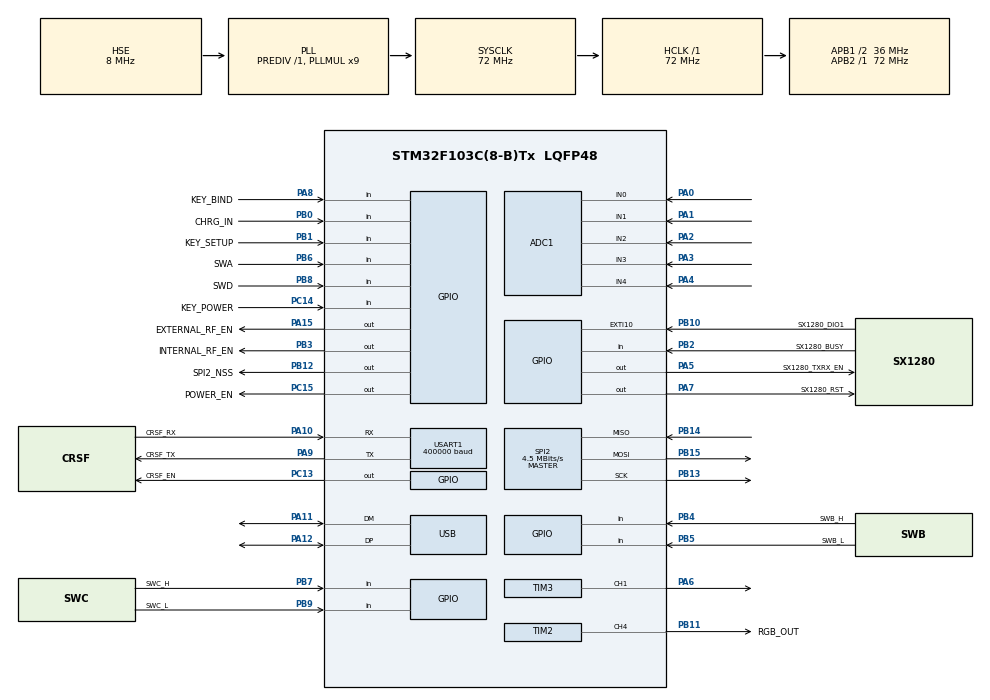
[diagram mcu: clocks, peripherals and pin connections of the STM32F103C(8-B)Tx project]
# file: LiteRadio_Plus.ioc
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ADC1.Channel-1\#ChannelRegularConversion=ADC_CHANNEL_0
ADC1.Channel-2\#ChannelRegularConversion=ADC_CHANNEL_1
ADC1.Channel-3\#ChannelRegularConversion=ADC_CHANNEL_2
ADC1.Channel-4\#ChannelRegularConversion=ADC_CHANNEL_3
ADC1.Channel-5\#ChannelRegularConversion=ADC_CHANNEL_4
ADC1.ContinuousConvMode=ENABLE
ADC1.ExternalTrigConv=ADC_SOFTWARE_START
ADC1.NbrOfConversion=5
ADC1.NbrOfConversionFlag=1
ADC1.Rank-1\#ChannelRegularConversion=1
ADC1.Rank-2\#ChannelRegularConversion=2
ADC1.Rank-3\#ChannelRegularConversion=3
ADC1.Rank-4\#ChannelRegularConversion=4
ADC1.Rank-5\#ChannelRegularConversion=5
ADC1.SamplingTime-1\#ChannelRegularConversion=ADC_SAMPLETIME_1CYCLE_5
ADC1.SamplingTime-2\#ChannelRegularConversion=ADC_SAMPLETIME_1CYCLE_5
ADC1.SamplingTime-3\#ChannelRegularConversion=ADC_SAMPLETIME_1CYCLE_5
ADC1.SamplingTime-4\#ChannelRegularConversion=ADC_SAMPLETIME_1CYCLE_5
ADC1.SamplingTime-5\#ChannelRegularConversion=ADC_SAMPLETIME_1CYCLE_5
ADC1.master=1
Dma.ADC1.0.Direction=DMA_PERIPH_TO_MEMORY
Dma.ADC1.0.Instance=DMA1_Channel1
Dma.ADC1.0.MemDataAlignment=DMA_MDATAALIGN_HALFWORD
Dma.ADC1.0.MemInc=DMA_MINC_ENABLE
Dma.ADC1.0.Mode=DMA_CIRCULAR
Dma.ADC1.0.PeriphDataAlignment=DMA_PDATAALIGN_HALFWORD
Dma.ADC1.0.PeriphInc=DMA_PINC_DISABLE
Dma.ADC1.0.Priority=DMA_PRIORITY_MEDIUM
Dma.Request0=ADC1
Dma.Request1=TIM2_CH2/CH4
Dma.Request2=USART1_TX
Dma.Request3=USART1_RX
Dma.TIM2_CH2/CH4.1.Direction=DMA_MEMORY_TO_PERIPH
Dma.TIM2_CH2/CH4.1.Instance=DMA1_Channel7
Dma.TIM2_CH2/CH4.1.MemDataAlignment=DMA_MDATAALIGN_HALFWORD
Dma.TIM2_CH2/CH4.1.MemInc=DMA_MINC_ENABLE
Dma.TIM2_CH2/CH4.1.Mode=DMA_NORMAL
Dma.TIM2_CH2/CH4.1.PeriphDataAlignment=DMA_PDATAALIGN_HALFWORD
Dma.TIM2_CH2/CH4.1.PeriphInc=DMA_PINC_DISABLE
Dma.TIM2_CH2/CH4.1.Priority=DMA_PRIORITY_MEDIUM
Dma.USART1_RX.3.Direction=DMA_PERIPH_TO_MEMORY
Dma.USART1_RX.3.Instance=DMA1_Channel5
Dma.USART1_RX.3.MemDataAlignment=DMA_MDATAALIGN_BYTE
Dma.USART1_RX.3.MemInc=DMA_MINC_ENABLE
Dma.USART1_RX.3.Mode=DMA_NORMAL
Dma.USART1_RX.3.PeriphDataAlignment=DMA_PDATAALIGN_BYTE
Dma.USART1_RX.3.PeriphInc=DMA_PINC_DISABLE
Dma.USART1_RX.3.Priority=DMA_PRIORITY_MEDIUM
Dma.USART1_TX.2.Direction=DMA_MEMORY_TO_PERIPH
Dma.USART1_TX.2.Instance=DMA1_Channel4
Dma.USART1_TX.2.MemDataAlignment=DMA_MDATAALIGN_BYTE
Dma.USART1_TX.2.MemInc=DMA_MINC_ENABLE
Dma.USART1_TX.2.Mode=DMA_NORMAL
Dma.USART1_TX.2.PeriphDataAlignment=DMA_PDATAALIGN_BYTE
Dma.USART1_TX.2.PeriphInc=DMA_PINC_DISABLE
Dma.USART1_TX.2.Priority=DMA_PRIORITY_MEDIUM
FREERTOS.HEAP_NUMBER=4
FREERTOS.INCLUDE_uxTaskGetStackHighWaterMark=1
FREERTOS.INCLUDE_vTaskDelayUntil=0
FREERTOS.INCLUDE_xEventGroupSetBitFromISR=0
FREERTOS.INCLUDE_xTimerPendFunctionCall=0
FREERTOS.MEMORY_ALLOCATION=2
FREERTOS.Tasks01=defaultTask,0,128,StartDefaultTask,Default,NULL,Static,defaultTaskBuffer,defaultTaskControlBlock
FREERTOS.configTOTAL_HEAP_SIZE=6.5*1024 
FREERTOS.configUSE_TIMERS=0
IWDG.Prescaler=IWDG_PRESCALER_16
Mcu.Family=STM32F1
Mcu.Name=STM32F103C(8-B)Tx
Mcu.Package=LQFP48
NVIC.DMA1_Channel1_IRQn=true\:5\:0\:false\:false\:true\:true\:false\:true\:true
NVIC.DMA1_Channel4_IRQn=true\:5\:0\:false\:false\:true\:true\:false\:true\:true
NVIC.DMA1_Channel5_IRQn=true\:5\:0\:false\:false\:true\:true\:false\:true\:true
NVIC.DMA1_Channel7_IRQn=true\:5\:0\:false\:false\:true\:true\:false\:true\:true
NVIC.EXTI15_10_IRQn=true\:5\:0\:true\:false\:true\:true\:true\:true\:true
NVIC.PriorityGroup=NVIC_PRIORITYGROUP_4
NVIC.TIM1_UP_IRQn=true\:5\:0\:false\:false\:true\:true\:true\:true\:true
NVIC.TIM2_IRQn=true\:5\:0\:false\:false\:true\:true\:true\:true\:true
NVIC.TIM4_IRQn=true\:0\:0\:false\:false\:true\:false\:false\:true\:true
NVIC.TimeBase=TIM4_IRQn
NVIC.TimeBaseIP=TIM4
NVIC.USART1_IRQn=true\:5\:0\:false\:false\:true\:true\:true\:true\:true
NVIC.USB_LP_CAN1_RX0_IRQn=true\:5\:0\:false\:false\:true\:true\:false\:true\:true
PA0-WKUP.Signal=ADCx_IN0
PA1.Signal=ADCx_IN1
PA10.GPIO_Label=CRSF_RX
PA10.Mode=Asynchronous
PA10.Signal=USART1_RX
PA11.Mode=Device
PA11.Signal=USB_DM
PA12.Mode=Device
PA12.Signal=USB_DP
PA13.Mode=Serial_Wire
PA13.Signal=SYS_JTMS-SWDIO
PA14.Mode=Serial_Wire
PA14.Signal=SYS_JTCK-SWCLK
PA15.GPIO_Label=EXTERNAL_RF_EN
PA15.Signal=GPIO_Output
PA2.Signal=ADCx_IN2
PA3.Signal=ADCx_IN3
PA4.Signal=ADCx_IN4
PA5.GPIO_Label=SX1280_TXRX_EN
PA5.Signal=GPIO_Output
PA6.Signal=S_TIM3_CH1
PA7.GPIO_Label=SX1280_RST
PA7.GPIO_PuPd=GPIO_PULLUP
PA7.PinState=GPIO_PIN_SET
PA7.Signal=GPIO_Output
PA8.GPIO_Label=KEY_BIND
PA8.GPIO_PuPd=GPIO_PULLUP
PA8.Signal=GPIO_Input
PA9.GPIO_Label=CRSF_TX
PA9.Mode=Asynchronous
PA9.Signal=USART1_TX
PB0.GPIO_Label=CHRG_IN
PB0.GPIO_PuPd=GPIO_PULLUP
PB0.Signal=GPIO_Input
PB1.GPIO_Label=KEY_SETUP
PB1.GPIO_PuPd=GPIO_PULLUP
PB1.Signal=GPIO_Input
PB10.GPIO_Label=SX1280_DIO1
PB10.GPIO_ModeDefaultEXTI=GPIO_MODE_IT_RISING
PB10.GPIO_PuPd=GPIO_PULLDOWN
PB10.Signal=GPXTI10
PB11.GPIO_Label=RGB_OUT
PB11.Signal=S_TIM2_CH4
PB12.GPIO_Label=SPI2_NSS
PB12.GPIO_Speed=GPIO_SPEED_FREQ_HIGH
PB12.Signal=GPIO_Output
PB13.Mode=Full_Duplex_Master
PB13.Signal=SPI2_SCK
PB14.Mode=Full_Duplex_Master
PB14.Signal=SPI2_MISO
PB15.Mode=Full_Duplex_Master
PB15.Signal=SPI2_MOSI
PB2.GPIO_Label=SX1280_BUSY
PB2.GPIO_PuPd=GPIO_PULLUP
PB2.Signal=GPIO_Input
PB3.GPIO_Label=INTERNAL_RF_EN
PB3.Signal=GPIO_Output
PB4.GPIO_Label=SWB_H
PB4.GPIO_PuPd=GPIO_PULLUP
PB4.Signal=GPIO_Input
PB5.GPIO_Label=SWB_L
PB5.GPIO_PuPd=GPIO_PULLUP
PB5.Signal=GPIO_Input
PB6.GPIO_Label=SWA
PB6.GPIO_PuPd=GPIO_PULLUP
PB6.Signal=GPIO_Input
PB7.GPIO_Label=SWC_H
PB7.GPIO_PuPd=GPIO_PULLUP
PB7.Signal=GPIO_Input
PB8.GPIO_Label=SWD
PB8.GPIO_PuPd=GPIO_PULLUP
PB8.Signal=GPIO_Input
PB9.GPIO_Label=SWC_L
PB9.GPIO_PuPd=GPIO_PULLUP
PB9.Signal=GPIO_Input
PC13-TAMPER-RTC.GPIO_Label=CRSF_EN
PC13-TAMPER-RTC.Signal=GPIO_Output
PC14-OSC32_IN.GPIO_Label=KEY_POWER
PC14-OSC32_IN.GPIO_PuPd=GPIO_PULLUP
PC14-OSC32_IN.Signal=GPIO_Input
PC15-OSC32_OUT.GPIO_Label=POWER_EN
PC15-OSC32_OUT.GPIO_PuPd=GPIO_PULLDOWN
PC15-OSC32_OUT.Signal=GPIO_Output
PD0-OSC_IN.Mode=HSE-External-Oscillator
PD0-OSC_IN.Signal=RCC_OSC_IN
PD1-OSC_OUT.Mode=HSE-External-Oscillator
PD1-OSC_OUT.Signal=RCC_OSC_OUT
ProjectManager.HeapSize=0x000
ProjectManager.StackSize=0x200
ProjectManager.TargetToolchain=MDK-ARM V5.27
RCC.ADCPresc=RCC_ADCPCLK2_DIV6
RCC.AHBFreq_Value=72000000
RCC.APB1CLKDivider=RCC_HCLK_DIV2
RCC.APB1Freq_Value=36000000
RCC.APB1TimFreq_Value=72000000
RCC.APB2Freq_Value=72000000
RCC.APB2TimFreq_Value=72000000
RCC.HCLKFreq_Value=72000000
RCC.PLLMUL=RCC_PLL_MUL9
RCC.PLLSourceVirtual=RCC_PLLSOURCE_HSE
RCC.SYSCLKFreq_VALUE=72000000
RCC.SYSCLKSource=RCC_SYSCLKSOURCE_PLLCLK
RCC.USBFreq_Value=48000000
RCC.USBPrescaler=RCC_USBCLKSOURCE_PLL_DIV1_5
SH.ADCx_IN0.0=ADC1_IN0,IN0
SH.ADCx_IN1.0=ADC1_IN1,IN1
SH.ADCx_IN2.0=ADC1_IN2,IN2
SH.ADCx_IN3.0=ADC1_IN3,IN3
SH.ADCx_IN4.0=ADC1_IN4,IN4
SH.S_TIM2_CH4.0=TIM2_CH4,PWM Generation4 CH4
SH.S_TIM3_CH1.0=TIM3_CH1,PWM Generation1 CH1
SPI2.BaudRatePrescaler=SPI_BAUDRATEPRESCALER_8
SPI2.CRCCalculation=SPI_CRCCALCULATION_DISABLE
SPI2.CalculateBaudRate=4.5 MBits/s
SPI2.Direction=SPI_DIRECTION_2LINES
SPI2.Mode=SPI_MODE_MASTER
SPI2.VirtualType=VM_MASTER
TIM1.AutoReloadPreload=TIM_AUTORELOAD_PRELOAD_ENABLE
TIM1.Period=3999
TIM1.Prescaler=71
TIM2.Channel-PWM\ Generation4\ CH4=TIM_CHANNEL_4
TIM2.OCFastMode_PWM-PWM\ Generation4\ CH4=TIM_OCFAST_DISABLE
TIM2.OCMode_PWM-PWM\ Generation4\ CH4=TIM_OCMODE_PWM1
TIM2.OCPolarity_4=TIM_OCPOLARITY_HIGH
TIM2.Period=89
TIM2.Prescaler=0
TIM2.Pulse-PWM\ Generation4\ CH4=0
TIM3.Channel-PWM\ Generation1\ CH1=TIM_CHANNEL_1
TIM3.Prescaler=99
USART1.BaudRate=400000
USART1.VirtualMode=VM_ASYNC
USB_DEVICE.CLASS_NAME_FS=CDC
USB_DEVICE.VirtualMode=Cdc
USB_DEVICE.VirtualModeFS=Cdc_FS
VP_FREERTOS_VS_CMSIS_V1.Mode=CMSIS_V1
VP_IWDG_VS_IWDG.Mode=IWDG_Activate
VP_SYS_VS_tim4.Mode=TIM4
VP_TIM1_VS_ClockSourceINT.Mode=Internal
VP_TIM2_VS_ClockSourceINT.Mode=Internal
VP_USB_DEVICE_VS_USB_DEVICE_CDC_FS.Mode=CDC_FS
board=custom

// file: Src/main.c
/* USER CODE BEGIN Header */
/**
  ******************************************************************************
  * @file           : main.c
  * @brief          : Main program body
  ******************************************************************************
  * @attention
  *
  * <h2><center>&copy; Copyright (c) 2021 STMicroelectronics.
  * All rights reserved.</center></h2>
  *
  * This software component is licensed by ST under Ultimate Liberty license
  * SLA0044, the "License"; You may not use this file except in compliance with
  * the License. You may obtain a copy of the License at:
  *                             www.st.com/SLA0044
  *
  ******************************************************************************
  */
/* USER CODE END Header */
#include "main.h"
#include "cmsis_os.h"
#include "adc.h"
#include "dma.h"
#include "iwdg.h"
#include "spi.h"
#include "tim.h"
#include "usart.h"
#include "usb_device.h"
#include "gpio.h"

/* USER CODE BEGIN Includes */
#include "usb_device.h"
#include "adc.h"
#include "gimbal.h"
#include "switches.h"
#include "key.h"
#include "buzzer.h"
#include "mixes.h"
#include "joystick.h"
#include "rgb.h"
#include "status.h"
#include "delay.h"
#include "radiolink.h"
#if defined(LiteRadio_Plus_SX1280)
#include "sx1280.h"
#elif defined(LiteRadio_Plus_SX1276)

#endif
/* USER CODE END Includes */

void SystemClock_Config(void);
void MX_FREERTOS_Init(void);

int main(void)
{
  /* USER CODE BEGIN 1 */
  SCB->VTOR = FLASH_BASE | 0x8000;
  __enable_irq();
  /* USER CODE END 1 */

  /* MCU Configuration--------------------------------------------------------*/

  /* Reset of all peripherals, Initializes the Flash interface and the Systick. */
  HAL_Init();

  /* Configure the system clock */
  SystemClock_Config();

  /* Initialize all configured peripherals */
  MX_GPIO_Init();
  MX_DMA_Init();
  MX_ADC1_Init();
  MX_TIM3_Init();
  MX_SPI2_Init();
  MX_TIM2_Init();
  MX_USART1_UART_Init();
  MX_TIM1_Init();
  MX_IWDG_Init();
  /* USER CODE BEGIN 2 */
#ifdef LiteRadio_Plus_CC2500
  CC2500_GPIO_Disable();
#endif

  Gimbal_Init();

  Status_Init();

  /* USER CODE END 2 */

  /* Call init function for freertos objects (in freertos.c) */
  MX_FREERTOS_Init();

  /* Start scheduler */
  osKernelStart();

  /* We should never get here as control is now taken by the scheduler */
  /* Infinite loop */
  while (1)
  {

  }
}

void SystemClock_Config(void)
{
  RCC_OscInitTypeDef RCC_OscInitStruct = {0};
  RCC_ClkInitTypeDef RCC_ClkInitStruct = {0};
  RCC_PeriphCLKInitTypeDef PeriphClkInit = {0};

  /** Initializes the RCC Oscillators according to the specified parameters
  * in the RCC_OscInitTypeDef structure.
  */
  RCC_OscInitStruct.OscillatorType = RCC_OSCILLATORTYPE_LSI|RCC_OSCILLATORTYPE_HSE;
  RCC_OscInitStruct.HSEState = RCC_HSE_ON;
  RCC_OscInitStruct.HSEPredivValue = RCC_HSE_PREDIV_DIV1;
  RCC_OscInitStruct.HSIState = RCC_HSI_ON;
  RCC_OscInitStruct.LSIState = RCC_LSI_ON;
  RCC_OscInitStruct.PLL.PLLState = RCC_PLL_ON;
  RCC_OscInitStruct.PLL.PLLSource = RCC_PLLSOURCE_HSE;
  RCC_OscInitStruct.PLL.PLLMUL = RCC_PLL_MUL9;
  if (HAL_RCC_OscConfig(&RCC_OscInitStruct) != HAL_OK)
  {
    Error_Handler();
  }

  /** Initializes the CPU, AHB and APB buses clocks
  */
  RCC_ClkInitStruct.ClockType = RCC_CLOCKTYPE_HCLK|RCC_CLOCKTYPE_SYSCLK
                              |RCC_CLOCKTYPE_PCLK1|RCC_CLOCKTYPE_PCLK2;
  RCC_ClkInitStruct.SYSCLKSource = RCC_SYSCLKSOURCE_PLLCLK;
  RCC_ClkInitStruct.AHBCLKDivider = RCC_SYSCLK_DIV1;
  RCC_ClkInitStruct.APB1CLKDivider = RCC_HCLK_DIV2;
  RCC_ClkInitStruct.APB2CLKDivider = RCC_HCLK_DIV1;

  if (HAL_RCC_ClockConfig(&RCC_ClkInitStruct, FLASH_LATENCY_2) != HAL_OK)
  {
    Error_Handler();
  }
  PeriphClkInit.PeriphClockSelection = RCC_PERIPHCLK_ADC|RCC_PERIPHCLK_USB;
  PeriphClkInit.AdcClockSelection = RCC_ADCPCLK2_DIV6;
  PeriphClkInit.UsbClockSelection = RCC_USBCLKSOURCE_PLL_DIV1_5;
  if (HAL_RCCEx_PeriphCLKConfig(&PeriphClkInit) != HAL_OK)
  {
    Error_Handler();
  }
}

void HAL_TIM_PeriodElapsedCallback(TIM_HandleTypeDef *htim)
{
  if (htim->Instance == TIM4) {
    HAL_IncTick();
  }
}

void Error_Handler(void)
{
}
